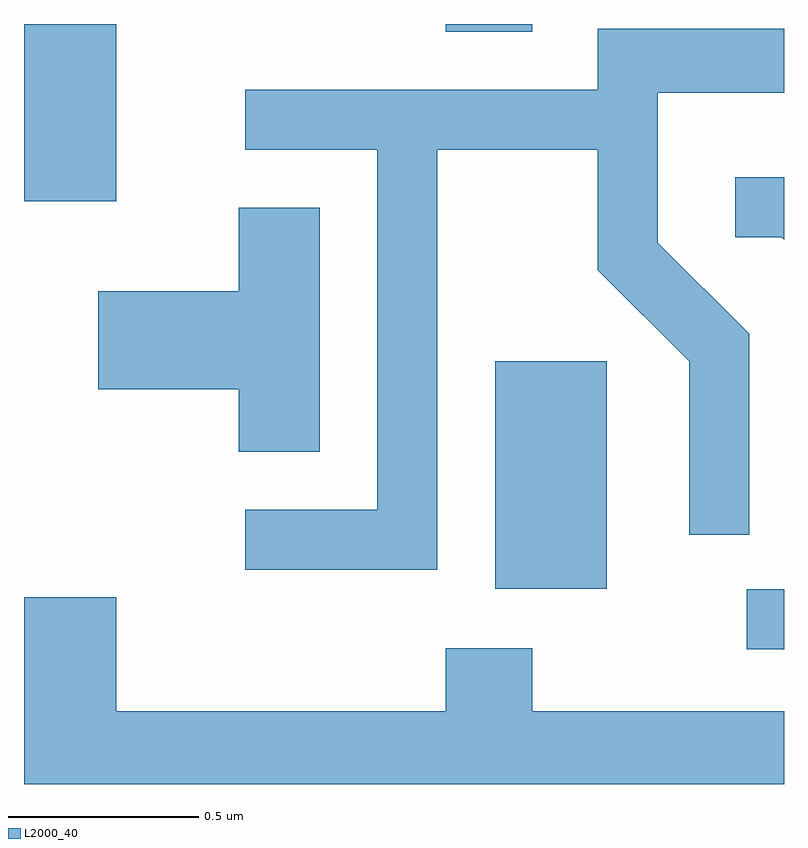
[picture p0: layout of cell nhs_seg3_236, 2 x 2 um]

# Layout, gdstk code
import gdstk
lib = gdstk.Library(unit=1e-6, precision=1e-09)
def R(c, l, rs):  # rectangles x0, y0, x1, y1
    for r in rs: c.add(gdstk.rectangle(r[:2], r[2:], *l))
def P(c, l, *ps):  # polygons
    for p in ps: c.add(gdstk.Polygon(p, *l))
L2000_40 = (2000, 40)

nhs_seg3_236 = lib.new_cell('nhs_seg3_236')
R(nhs_seg3_236, L2000_40, [(188.513,1215.246,188.611,1215.404), (187.851,1215.406,188.144,1216.004), (186.611,1216.426,186.854,1216.892), (187.721,1216.871,187.949,1216.892)])
P(nhs_seg3_236, L2000_40, [(187.699,1216.561),(188.121,1216.561),(188.121,1216.244),(188.361,1216.004),(188.361,1215.548),(188.519,1215.548),(188.519,1216.077),(188.279,1216.317),(188.279,1216.711),(188.611,1216.711),(188.611,1216.879),(188.121,1216.879),(188.121,1216.719),(187.193,1216.719),(187.193,1216.561),(187.541,1216.561),(187.541,1215.614),(187.193,1215.614),(187.193,1215.456),(187.699,1215.456)],
  [(188.611,1216.489),(188.483,1216.489),(188.483,1216.331),(188.604,1216.331),(188.611,1216.324)],
  [(187.389,1216.409),(187.176,1216.409),(187.176,1216.189),(186.806,1216.189),(186.806,1215.931),(187.176,1215.931),(187.176,1215.766),(187.389,1215.766)],
  [(188.611,1215.084),(187.949,1215.084),(187.949,1215.249),(187.721,1215.249),(187.721,1215.084),(186.854,1215.084),(186.854,1215.384),(186.611,1215.384),(186.611,1214.892),(188.611,1214.892)])

lib.write_gds('nhs_seg3_236.gds')
